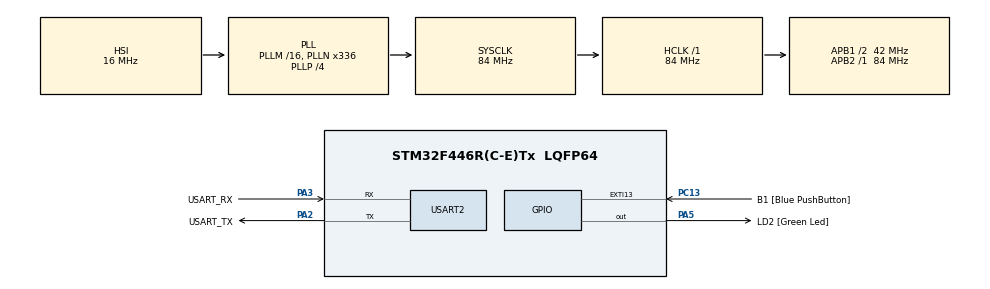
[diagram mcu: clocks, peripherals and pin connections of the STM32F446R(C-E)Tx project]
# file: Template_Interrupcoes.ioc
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Mcu.Family=STM32F4
Mcu.Name=STM32F446R(C-E)Tx
Mcu.Package=LQFP64
NVIC.EXTI15_10_IRQn=true\:2\:1\:true\:false\:true\:true\:true\:true
NVIC.PriorityGroup=NVIC_PRIORITYGROUP_2
NVIC.USART2_IRQn=true\:0\:0\:false\:false\:true\:true\:true\:true
PA13.GPIO_Label=TMS
PA13.Mode=Serial_Wire
PA13.Signal=SYS_JTMS-SWDIO
PA14.GPIO_Label=TCK
PA14.Mode=Serial_Wire
PA14.Signal=SYS_JTCK-SWCLK
PA2.GPIO_Label=USART_TX
PA2.Mode=Asynchronous
PA2.Signal=USART2_TX
PA3.GPIO_Label=USART_RX
PA3.Mode=Asynchronous
PA3.Signal=USART2_RX
PA5.GPIO_Label=LD2 [Green Led]
PA5.Signal=GPIO_Output
PB3.GPIO_Label=SWO
PB3.Signal=SYS_JTDO-SWO
PC13.GPIO_Label=B1 [Blue PushButton]
PC13.GPIO_ModeDefaultEXTI=GPIO_MODE_IT_FALLING
PC13.Signal=GPXTI13
PC14-OSC32_IN.Mode=LSE-External-Oscillator
PC14-OSC32_IN.Signal=RCC_OSC32_IN
PC15-OSC32_OUT.Mode=LSE-External-Oscillator
PC15-OSC32_OUT.Signal=RCC_OSC32_OUT
PH0-OSC_IN.Mode=HSE-External-Oscillator
PH0-OSC_IN.Signal=RCC_OSC_IN
PH1-OSC_OUT.Mode=HSE-External-Oscillator
PH1-OSC_OUT.Signal=RCC_OSC_OUT
ProjectManager.HeapSize=0x200
ProjectManager.StackSize=0x400
ProjectManager.TargetToolchain=STM32CubeIDE
RCC.48MHZClocksFreq_Value=84000000
RCC.AHBFreq_Value=84000000
RCC.APB1CLKDivider=RCC_HCLK_DIV2
RCC.APB1Freq_Value=42000000
RCC.APB1TimFreq_Value=84000000
RCC.APB2Freq_Value=84000000
RCC.APB2TimFreq_Value=84000000
RCC.CortexFreq_Value=84000000
RCC.FLatency-AdvancedSettings=FLASH_LATENCY_2
RCC.HCLKFreq_Value=84000000
RCC.HSE_VALUE=8000000
RCC.HSI_VALUE=16000000
RCC.PLLN=336
RCC.PLLP=RCC_PLLP_DIV4
RCC.SYSCLKFreq_VALUE=84000000
RCC.SYSCLKSource=RCC_SYSCLKSOURCE_PLLCLK
RCC.USBFreq_Value=168000000
RCC.VCOOutputFreq_Value=336000000
USART2.VirtualMode=VM_ASYNC
board=NUCLEO-F446RE

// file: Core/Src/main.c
/* USER CODE BEGIN Header */
/**
  ******************************************************************************
  * @file           : main.c
  * @brief          : Main program body
  ******************************************************************************
  * @attention
  *
  * Copyright (c) 2025 STMicroelectronics.
  * All rights reserved.
  *
  * This software is licensed under terms that can be found in the LICENSE file
  * in the root directory of this software component.
  * If no LICENSE file comes with this software, it is provided AS-IS.
  *
  ******************************************************************************
  */
/* USER CODE END Header */
#include "main.h"

UART_HandleTypeDef huart2;

/* USER CODE BEGIN PV */
volatile char fallingEdges = 0;
char rx[10];
volatile char rxDone = 0;
/* USER CODE END PV */

void SystemClock_Config(void);
static void MX_GPIO_Init(void);
static void MX_USART2_UART_Init(void);

int main(void)
{

  /* MCU Configuration--------------------------------------------------------*/

  /* Reset of all peripherals, Initializes the Flash interface and the Systick. */
  HAL_Init();

  /* Configure the system clock */
  SystemClock_Config();

  /* Initialize all configured peripherals */
  MX_GPIO_Init();
  MX_USART2_UART_Init();
  /* USER CODE BEGIN 2 */
  //Habilita interrupção da UART a cada 5 caracteres
  HAL_UART_Receive_IT(&huart2, rx, 5);
  /* USER CODE END 2 */

  /* Infinite loop */
  while (1)
  {

    /* USER CODE BEGIN 3 */
	  //Trantamento UART
	  if(rxDone)
	  {
		  //Zera flag
		  rxDone = 0;
		  //Callback
		  HAL_UART_Transmit(&huart2, "Recebido via int. da UART2: ", 28, 100);
		  HAL_UART_Transmit(&huart2, rx, 5, 100);
		  HAL_UART_Transmit(&huart2, "\r\n", 2, 100);
	  }
  }
  /* USER CODE END 3 */
}

void SystemClock_Config(void)
{
  RCC_OscInitTypeDef RCC_OscInitStruct = {0};
  RCC_ClkInitTypeDef RCC_ClkInitStruct = {0};

  /** Configure the main internal regulator output voltage
  */
  __HAL_RCC_PWR_CLK_ENABLE();
  __HAL_PWR_VOLTAGESCALING_CONFIG(PWR_REGULATOR_VOLTAGE_SCALE3);

  /** Initializes the RCC Oscillators according to the specified parameters
  * in the RCC_OscInitTypeDef structure.
  */
  RCC_OscInitStruct.OscillatorType = RCC_OSCILLATORTYPE_HSI;
  RCC_OscInitStruct.HSIState = RCC_HSI_ON;
  RCC_OscInitStruct.HSICalibrationValue = RCC_HSICALIBRATION_DEFAULT;
  RCC_OscInitStruct.PLL.PLLState = RCC_PLL_ON;
  RCC_OscInitStruct.PLL.PLLSource = RCC_PLLSOURCE_HSI;
  RCC_OscInitStruct.PLL.PLLM = 16;
  RCC_OscInitStruct.PLL.PLLN = 336;
  RCC_OscInitStruct.PLL.PLLP = RCC_PLLP_DIV4;
  RCC_OscInitStruct.PLL.PLLQ = 2;
  RCC_OscInitStruct.PLL.PLLR = 2;
  if (HAL_RCC_OscConfig(&RCC_OscInitStruct) != HAL_OK)
  {
    Error_Handler();
  }

  /** Initializes the CPU, AHB and APB buses clocks
  */
  RCC_ClkInitStruct.ClockType = RCC_CLOCKTYPE_HCLK|RCC_CLOCKTYPE_SYSCLK
                              |RCC_CLOCKTYPE_PCLK1|RCC_CLOCKTYPE_PCLK2;
  RCC_ClkInitStruct.SYSCLKSource = RCC_SYSCLKSOURCE_PLLCLK;
  RCC_ClkInitStruct.AHBCLKDivider = RCC_SYSCLK_DIV1;
  RCC_ClkInitStruct.APB1CLKDivider = RCC_HCLK_DIV2;
  RCC_ClkInitStruct.APB2CLKDivider = RCC_HCLK_DIV1;

  if (HAL_RCC_ClockConfig(&RCC_ClkInitStruct, FLASH_LATENCY_2) != HAL_OK)
  {
    Error_Handler();
  }
}

static void MX_USART2_UART_Init(void)
{

  huart2.Instance = USART2;
  huart2.Init.BaudRate = 115200;
  huart2.Init.WordLength = UART_WORDLENGTH_8B;
  huart2.Init.StopBits = UART_STOPBITS_1;
  huart2.Init.Parity = UART_PARITY_NONE;
  huart2.Init.Mode = UART_MODE_TX_RX;
  huart2.Init.HwFlowCtl = UART_HWCONTROL_NONE;
  huart2.Init.OverSampling = UART_OVERSAMPLING_16;
  if (HAL_UART_Init(&huart2) != HAL_OK)
  {
    Error_Handler();
  }

}

static void MX_GPIO_Init(void)
{
  GPIO_InitTypeDef GPIO_InitStruct = {0};

  /* GPIO Ports Clock Enable */
  __HAL_RCC_GPIOC_CLK_ENABLE();
  __HAL_RCC_GPIOH_CLK_ENABLE();
  __HAL_RCC_GPIOA_CLK_ENABLE();
  __HAL_RCC_GPIOB_CLK_ENABLE();

  /*Configure GPIO pin Output Level */
  HAL_GPIO_WritePin(LD2_GPIO_Port, LD2_Pin, GPIO_PIN_RESET);

  /*Configure GPIO pin : B1_Pin */
  GPIO_InitStruct.Pin = B1_Pin;
  GPIO_InitStruct.Mode = GPIO_MODE_IT_FALLING;
  GPIO_InitStruct.Pull = GPIO_NOPULL;
  HAL_GPIO_Init(B1_GPIO_Port, &GPIO_InitStruct);

  /*Configure GPIO pin : LD2_Pin */
  GPIO_InitStruct.Pin = LD2_Pin;
  GPIO_InitStruct.Mode = GPIO_MODE_OUTPUT_PP;
  GPIO_InitStruct.Pull = GPIO_NOPULL;
  GPIO_InitStruct.Speed = GPIO_SPEED_FREQ_LOW;
  HAL_GPIO_Init(LD2_GPIO_Port, &GPIO_InitStruct);

  /* EXTI interrupt init*/
  HAL_NVIC_SetPriority(EXTI15_10_IRQn, 2, 1);
  HAL_NVIC_EnableIRQ(EXTI15_10_IRQn);

}

/* USER CODE BEGIN 4 */
void HAL_GPIO_EXTI_Callback(uint16_t GPIO_Pin)
{
	if(GPIO_Pin == GPIO_PIN_13)
	{
		fallingEdges++;	//Conta as bordas de descida (verificar no bebugger --> Live Expressions)
	}
}

void HAL_UART_RxCpltCallback(UART_HandleTypeDef *huart)
{
	rxDone = 1;	//Sinaliza pacote recebido
	HAL_UART_Receive_IT(&huart2, rx, 5);	//Reativa as interrupções
}
/* USER CODE END 4 */

void Error_Handler(void)
{
  __disable_irq();
  while (1)
  {
  }
}
